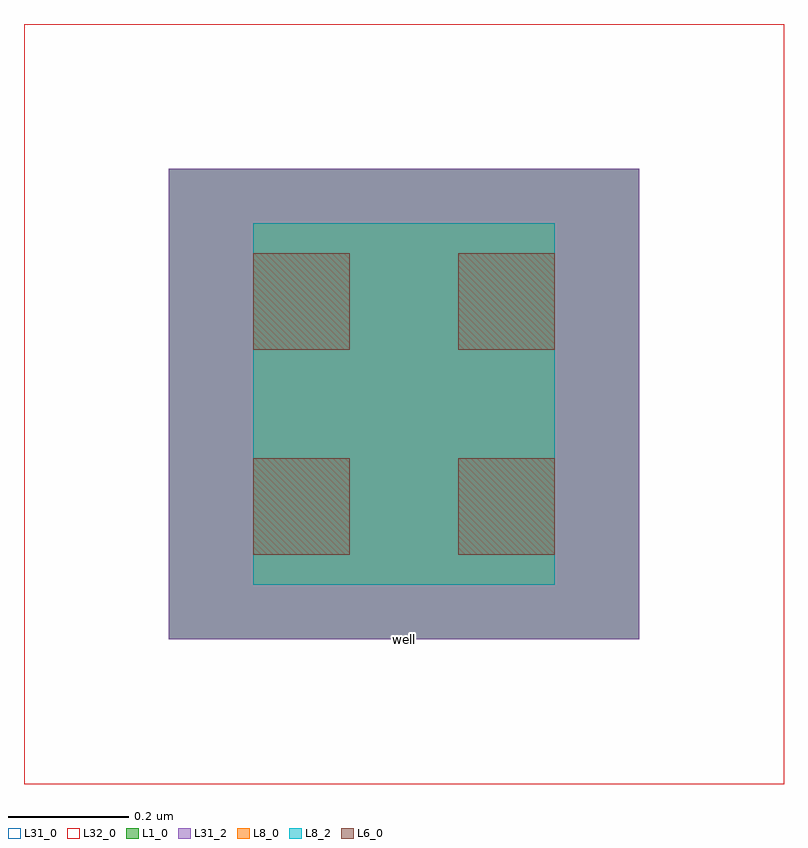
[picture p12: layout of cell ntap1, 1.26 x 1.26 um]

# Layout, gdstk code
import gdstk
lib = gdstk.Library(unit=1e-6, precision=1e-09)
def R(c, l, rs):  # rectangles x0, y0, x1, y1
    for r in rs: c.add(gdstk.rectangle(r[:2], r[2:], *l))
L1_0 = (1, 0)
L6_0 = (6, 0)
L8_0 = (8, 0)
L8_2 = (8, 2)
L31_0 = (31, 0)
L31_2 = (31, 2)
L32_0 = (32, 0)

ntap1 = lib.new_cell('ntap1')
R(ntap1, L1_0, [(0,0,0.78,0.78), (0,0,0.78,0.78)])
R(ntap1, L6_0, [(0.14,0.14,0.3,0.3), (0.14,0.14,0.3,0.3), (0.48,0.14,0.64,0.3), (0.48,0.14,0.64,0.3), (0.14,0.48,0.3,0.64), (0.14,0.48,0.3,0.64), (0.48,0.48,0.64,0.64), (0.48,0.48,0.64,0.64)])
R(ntap1, L8_0, [(0.14,0.09,0.64,0.69), (0.14,0.09,0.64,0.69)])
R(ntap1, L8_2, [(0.14,0.09,0.64,0.69), (0.14,0.09,0.64,0.69)])
R(ntap1, L31_0, [(-0.24,-0.24,1.02,1.02), (-0.24,-0.24,1.02,1.02)])
R(ntap1, L31_2, [(0,0,0.78,0.78), (0,0,0.78,0.78)])
R(ntap1, L32_0, [(-0.24,-0.24,1.02,1.02), (-0.24,-0.24,1.02,1.02)])
ntap1.add(gdstk.Label('well', (0.39,0), layer=63, texttype=0))
ntap1.add(gdstk.Label('well', (0.39,0), layer=63, texttype=0))

lib.write_gds('ntap1.gds')
